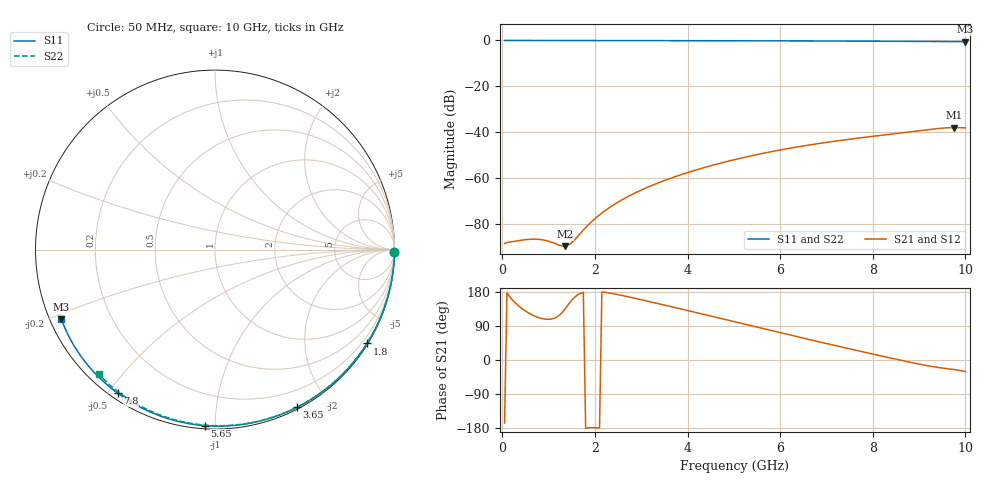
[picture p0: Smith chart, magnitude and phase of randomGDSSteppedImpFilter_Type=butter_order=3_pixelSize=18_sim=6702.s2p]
! freq	dB(S11)	phase(S11)	dB(S12)	phase(S12)
!  dB(S21)	phase(S21)	dB(S22)	phase(S22)
!S-par simulation data
#  GHz  S  DB  R 50
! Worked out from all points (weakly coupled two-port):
!   200 points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, 50 MHz to 10 GHz, reference 50 ohm
!   highest |S21| = -37.91 dB at 9.75 GHz (marker M1); lowest = -89.5 dB at 1.35 GHz (marker M2)
!   lowest |S11| = -0.5 dB at 10 GHz (marker M3), VSWR 32.11, Z = 1.63 - j10.8 ohm
!   |S11| at or under -10 dB: nowhere
!   |S22| runs from -0.5 to 0.0 dB; largest |S21 - S12| = 0
!   S11 on the Smith chart (normalised r, x): 50 MHz: open; 1.8 GHz: 0.03, -3.53; 3.65 GHz: 0.02, -1.65; 5.65 GHz: 0.02, -0.94; 7.8 GHz: 0.02, -0.53; 10 GHz: 0.03, -0.22
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0.05  -0.00 -0.9  -88.32 -166.4  -88.32 -166.4  -0.00 -0.8
0.7  -0.01 -12.5  -86.40 115.8  -86.40 115.8  -0.01 -10.6
1.35  -0.03 -23.9  -89.46 133.8  -89.46 133.8  -0.03 -20.4
1.75  -0.04 -30.8  -82.44 178.7  -82.44 178.7  -0.03 -26.3
1.8  -0.04 -31.7  -81.37 -179.9  -81.37 -179.9  -0.03 -27.0
1.85  -0.04 -32.5  -80.33 -179.0  -80.33 -179.0  -0.04 -27.8
1.9  -0.04 -33.4  -79.35 -178.6  -79.35 -178.6  -0.04 -28.5
2.2  -0.05 -38.5  -74.28 178.9  -74.28 178.9  -0.04 -32.9
2.4  -0.05 -41.9  -71.53 174.8  -71.53 174.8  -0.05 -35.8
2.6  -0.06 -45.3  -69.13 169.9  -69.13 169.9  -0.05 -38.7
2.95  -0.07 -51.1  -65.53 160.5  -65.53 160.5  -0.06 -43.7
3.4  -0.08 -58.5  -61.69 147.8  -61.69 147.8  -0.07 -50.1
3.65  -0.08 -62.5  -59.83 140.7  -59.83 140.7  -0.07 -53.6
4.3  -0.10 -72.8  -55.63 121.9  -55.63 121.9  -0.09 -62.5
5.05  -0.13 -84.4  -51.65 100.0  -51.65 100.0  -0.11 -72.5
5.65  -0.15 -93.3  -48.99 82.4  -48.99 82.4  -0.13 -80.3
6.7  -0.21 -108.6  -45.23 51.9  -45.23 51.9  -0.18 -93.5
7.8  -0.30 -124.1  -42.18 21.1  -42.18 21.1  -0.25 -106.8
8.35  -0.34 -131.8  -40.85 6.2  -40.85 6.2  -0.29 -113.3
9.4  -0.45 -146.7  -38.32 -19.5  -38.32 -19.5  -0.38 -125.6
9.75  -0.50 -151.8  -37.91 -24.9  -37.91 -24.9  -0.42 -129.8
10  -0.54 -155.5  -37.99 -30.5  -37.99 -30.5  -0.46 -133.0
